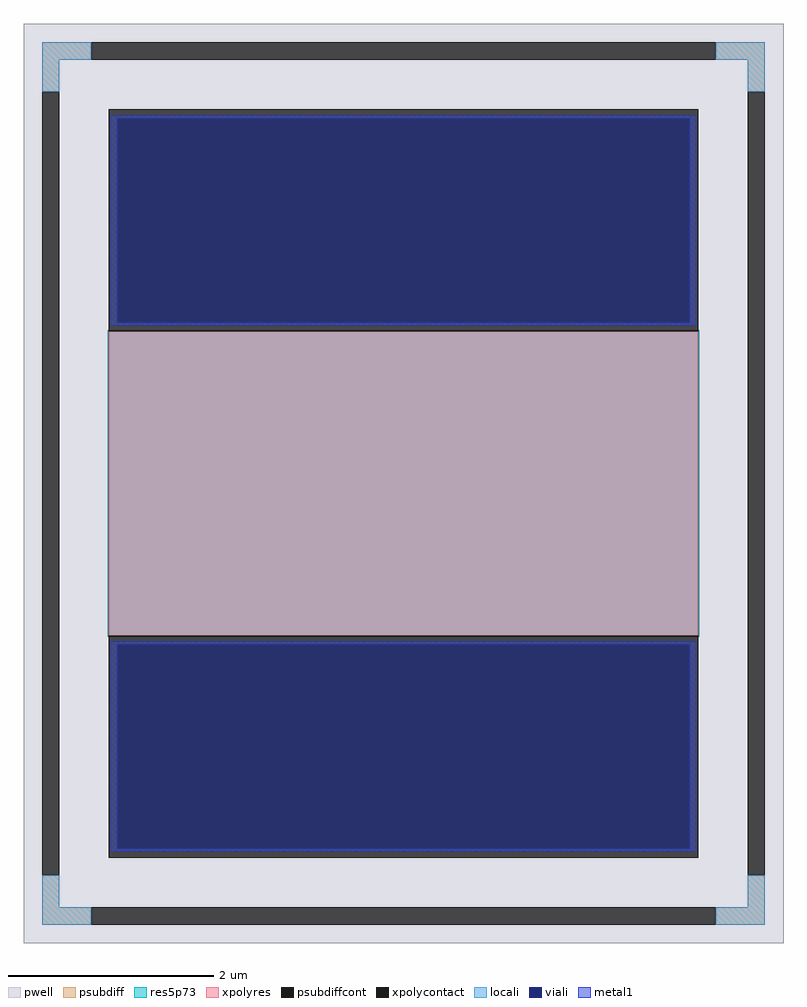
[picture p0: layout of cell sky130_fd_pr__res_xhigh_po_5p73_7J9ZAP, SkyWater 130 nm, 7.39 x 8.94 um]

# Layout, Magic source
magic
tech sky130A
magscale 1 2
<< pwell >>
rect -739 -894 739 894
<< psubdiff >>
rect -703 824 -607 858
rect 607 824 703 858
rect -703 762 -669 824
rect 669 762 703 824
rect -703 -824 -669 -762
rect 669 -824 703 -762
rect -703 -858 -607 -824
rect 607 -858 703 -824
<< psubdiffcont >>
rect -607 824 607 858
rect -703 -762 -669 762
rect 669 -762 703 762
rect -607 -858 607 -824
<< xpolycontact >>
rect -573 296 573 728
rect -573 -728 573 -296
<< xpolyres >>
rect -573 -296 573 296
<< locali >>
rect -703 824 -607 858
rect 607 824 703 858
rect -703 762 -669 824
rect 669 762 703 824
rect -703 -824 -669 -762
rect 669 -824 703 -762
rect -703 -858 -607 -824
rect 607 -858 703 -824
<< viali >>
rect -557 313 557 710
rect -557 -710 557 -313
<< metal1 >>
rect -569 710 569 716
rect -569 313 -557 710
rect 557 313 569 710
rect -569 307 569 313
rect -569 -313 569 -307
rect -569 -710 -557 -313
rect 557 -710 569 -313
rect -569 -716 569 -710
<< res5p73 >>
rect -575 -298 575 298
<< properties >>
string FIXED_BBOX -686 -841 686 841
string gencell sky130_fd_pr__res_xhigh_po_5p73
string library sky130
string parameters w 5.730 l 2.96 m 1 nx 1 wmin 5.730 lmin 0.50 rho 2000 val 1.098k dummy 0 dw 0.0 term 188.2 sterm 0.0 caplen 0 wmax 5.730 guard 1 glc 1 grc 1 gtc 1 gbc 1 compatible {sky130_fd_pr__res_xhigh_po_0p35  sky130_fd_pr__res_xhigh_po_0p69 sky130_fd_pr__res_xhigh_po_1p41  sky130_fd_pr__res_xhigh_po_2p85 sky130_fd_pr__res_xhigh_po_5p73} full_metal 1 n_guard 0 hv_guard 0 vias 1 viagb 0 viagt 0 viagl 0 viagr 0
<< end >>
